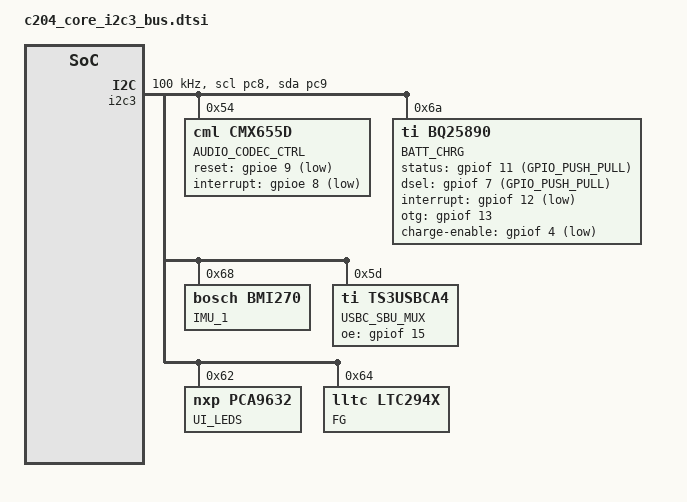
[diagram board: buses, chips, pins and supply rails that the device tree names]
/*
 * Copyright (c) 2022 Acme CPU
 *
 * C204 I2C3 bus has
 *		- CMX655D Control Interface
 *		- STSPIN32F0A
 *		- BQ25890
 *		- BMI270
 *		- TS3USBCA410
 *		- PCA9632
 *		- LTC2942
 */


&i2c3 {
	status = "okay";
	pinctrl-0 = <&i2c3_scl_pc8 &i2c3_sda_pc9>;
	pinctrl-names = "default";
	clock-frequency = <I2C_BITRATE_STANDARD>;
	
/*
  compatible = "st,stm32-i2c-dma-v2";
  dmas = <&dma1 0 0 0x0 0x0>,
	 <&dma1 0 0 0x0 0x0>;
  dma-names = "tx","rx";
  dma-label-tx = "DMA_TX_I2C_3";
  dma-label-rx = "DMA_RX_I2C_3";
*/

	audio_codec_ctrl: cmx655d@54 {
		compatible = "cml,cmx655d";
    	reg = <0x54>;
    	label = "AUDIO_CODEC_CTRL";
    	classd-oc-reset-attempts = <5>;
    	reset-gpios = <&gpioe 9 (GPIO_ACTIVE_LOW)>;
    	interrupt-gpios = <&gpioe 8 (GPIO_PULL_UP | GPIO_ACTIVE_LOW)>;
	};
	
/*	
	bldc_driver: stspin32f0a@10 {
		compatible = "st,stspin32f0a";
		reg = <0x10>
		label = "BLDC_DRIVER"
	}
*/

	batt_chrg: bq25890d@6a {
    	compatible = "ti,bq25890";
    	reg = <0x6a>;
    	
    	label = "BATT_CHRG";
    	
    	status-gpios = <&gpiof 11 (GPIO_PUSH_PULL)>;
    	dsel-gpios = <&gpiof 7 (GPIO_PUSH_PULL)>;
    	interrupt-gpios = <&gpiof 12 (GPIO_PULL_UP | GPIO_ACTIVE_LOW)>;
    	otg-gpios = <&gpiof 13 (GPIO_PUSH_PULL | GPIO_ACTIVE_HIGH)>;
    	charge-enable-gpios = <&gpiof 4 (GPIO_ACTIVE_LOW)>;
    	
    	battery-regulation-voltage = <4200000>;
        charge-current = <2000000>;
        termination-current = <50000>;
        precharge-current = <128000>;
        minimum-sys-voltage = <3600000>;
        boost-voltage = <5000000>;
        boost-max-current = <1000000>;

        use-ilim-pin;
        thermal-regulation-threshold = <120>;
	};

	imu_sens: bmi270@68 {
		compatible = "bosch,bmi270";
		reg = <0x68>;
		label = "IMU_1";
	};
	
 	usbc_sbu_mux: ts3usbca4@5d {
    	compatible = "ti,ts3usbca4";
    	reg = <0x5d>;
    	label = "USBC_SBU_MUX";
    	oe-gpios = <&gpiof 15 (GPIO_ACTIVE_HIGH)>;
	};
	
	ui_leds: pca9632@62 {
    	compatible = "nxp,pca9632";
    	reg = <0x62>;
    	label = "UI_LEDS";
    	#pwm-cells = <1>;
  	};
  	
  	fuelgauge: ltc2942@64 {
		compatible = "lltc,ltc294x";
		reg = <0x64>;
		resistor-sense = <10>;
		prescaler-exponent = <4>; 	/* for Qbat=5000 mAh, Rsense=10 mOhm [(128 * 5000 * 10)/(2^16 * 0.085 * 50)] */
		device-id = <2>;			/* LTC2941 = 1, LTC2942 = 2, LTC2943 = 3, LTC2944 = 4 */
		label = "FG";
	};
};
